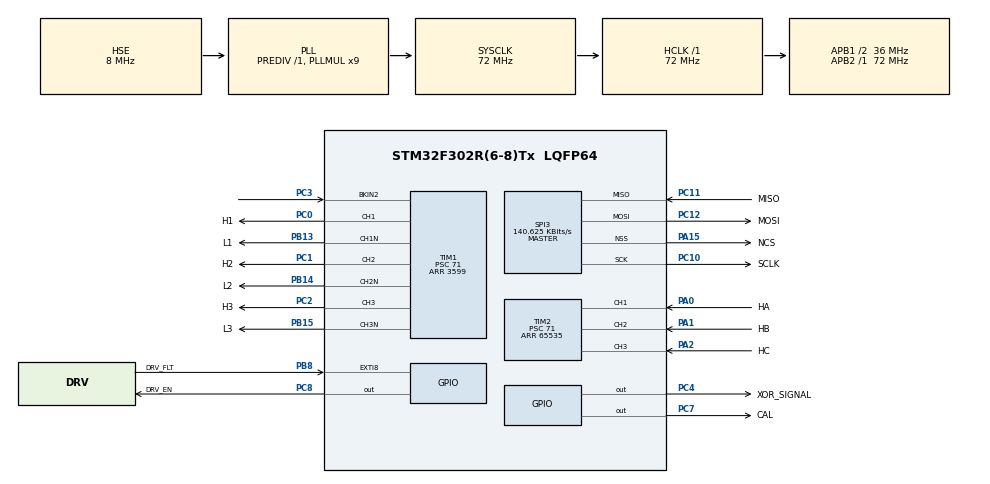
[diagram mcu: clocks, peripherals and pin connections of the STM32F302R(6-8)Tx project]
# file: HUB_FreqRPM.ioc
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Mcu.Family=STM32F3
Mcu.Name=STM32F302R(6-8)Tx
Mcu.Package=LQFP64
NVIC.PriorityGroup=NVIC_PRIORITYGROUP_0
NVIC.TIM1_BRK_TIM15_IRQn=true\:0\:0\:false\:false\:true\:true\:true\:true
NVIC.TIM1_UP_TIM16_IRQn=true\:0\:0\:false\:false\:true\:true\:true\:true
NVIC.TIM2_IRQn=true\:0\:0\:false\:false\:true\:true\:true\:true
PA0.GPIO_Label=HA
PA0.GPIO_Speed=GPIO_SPEED_FREQ_HIGH
PA0.Signal=S_TIM2_CH1_ETR
PA1.GPIO_Label=HB
PA1.GPIO_Speed=GPIO_SPEED_FREQ_HIGH
PA1.Signal=S_TIM2_CH2
PA13.GPIO_Label=TMS
PA13.Mode=Serial_Wire
PA13.Signal=SYS_JTMS-SWDIO
PA14.GPIO_Label=TCK
PA14.Mode=Serial_Wire
PA14.Signal=SYS_JTCK-SWCLK
PA15.GPIO_Label=NCS
PA15.Mode=NSS_Signal_Hard_Output
PA15.Signal=SPI3_NSS
PA2.GPIO_Label=HC
PA2.GPIO_Speed=GPIO_SPEED_FREQ_HIGH
PA2.Signal=S_TIM2_CH3
PB13.GPIO_Label=L1
PB13.GPIO_Speed=GPIO_SPEED_FREQ_HIGH
PB13.Mode=PWM Generation1 CH1 CH1N
PB13.Signal=TIM1_CH1N
PB14.GPIO_Label=L2
PB14.GPIO_Speed=GPIO_SPEED_FREQ_HIGH
PB14.Mode=PWM Generation2 CH2 CH2N
PB14.Signal=TIM1_CH2N
PB15.GPIO_Label=L3
PB15.GPIO_Speed=GPIO_SPEED_FREQ_HIGH
PB15.Mode=PWM Generation3 CH3 CH3N
PB15.Signal=TIM1_CH3N
PB8.GPIO_Label=DRV_FLT
PB8.GPIO_ModeDefaultEXTI=GPIO_MODE_IT_FALLING
PB8.Signal=GPXTI8
PC0.GPIO_Label=H1
PC0.GPIO_Speed=GPIO_SPEED_FREQ_HIGH
PC0.Signal=S_TIM1_CH1
PC1.GPIO_Label=H2
PC1.GPIO_Speed=GPIO_SPEED_FREQ_HIGH
PC1.Signal=S_TIM1_CH2
PC10.GPIO_Label=SCLK
PC10.Mode=Full_Duplex_Master
PC10.Signal=SPI3_SCK
PC11.GPIO_Label=MISO
PC11.Mode=Full_Duplex_Master
PC11.Signal=SPI3_MISO
PC12.GPIO_Label=MOSI
PC12.Mode=Full_Duplex_Master
PC12.Signal=SPI3_MOSI
PC14\ -\ OSC32_IN.Mode=LSE-External-Clock-Source
PC14\ -\ OSC32_IN.Signal=RCC_OSC32_IN
PC2.GPIO_Label=H3
PC2.GPIO_Speed=GPIO_SPEED_FREQ_HIGH
PC2.Signal=S_TIM1_CH3
PC3.Mode=Activate-Break-Input-2
PC3.Signal=TIM1_BKIN2
PC4.GPIO_Label=XOR_SIGNAL
PC4.Signal=GPIO_Output
PC7.GPIO_Label=CAL
PC7.Signal=GPIO_Output
PC8.GPIO_Label=DRV_EN
PC8.Signal=GPIO_Output
PF0-OSC_IN.Mode=HSE-External-Oscillator
PF0-OSC_IN.Signal=RCC_OSC_IN
PF1-OSC_OUT.Mode=HSE-External-Oscillator
PF1-OSC_OUT.Signal=RCC_OSC_OUT
ProjectManager.HeapSize=0x200
ProjectManager.StackSize=0x400
ProjectManager.TargetToolchain=STM32CubeIDE
RCC.AHBFreq_Value=72000000
RCC.APB1CLKDivider=RCC_HCLK_DIV2
RCC.APB1Freq_Value=36000000
RCC.APB1TimFreq_Value=72000000
RCC.APB2Freq_Value=72000000
RCC.APB2TimFreq_Value=72000000
RCC.CortexFreq_Value=72000000
RCC.HCLKFreq_Value=72000000
RCC.HSE_VALUE=8000000
RCC.HSI_VALUE=8000000
RCC.LSE_VALUE=32768
RCC.PLLM=8
RCC.PLLMUL=RCC_PLL_MUL9
RCC.PLLN=336
RCC.PLLP=RCC_PLLP_DIV4
RCC.PLLQ=7
RCC.PLLSourceVirtual=RCC_PLLSOURCE_HSE
RCC.SYSCLKFreq_VALUE=72000000
RCC.SYSCLKSourceVirtual=RCC_SYSCLKSOURCE_PLLCLK
RCC.USBFreq_Value=72000000
SH.S_TIM1_CH1.0=TIM1_CH1,PWM Generation1 CH1 CH1N
SH.S_TIM1_CH2.0=TIM1_CH2,PWM Generation2 CH2 CH2N
SH.S_TIM1_CH3.0=TIM1_CH3,PWM Generation3 CH3 CH3N
SH.S_TIM2_CH1_ETR.0=TIM2_CH1,Xored_Inputs_Hall_Sensor_Interface
SH.S_TIM2_CH2.0=TIM2_CH2,Xored_Inputs_Hall_Sensor_Interface
SH.S_TIM2_CH3.0=TIM2_CH3,Xored_Inputs_Hall_Sensor_Interface
SPI3.BaudRatePrescaler=SPI_BAUDRATEPRESCALER_256
SPI3.CalculateBaudRate=140.625 KBits/s
SPI3.DataSize=SPI_DATASIZE_16BIT
SPI3.Direction=SPI_DIRECTION_2LINES
SPI3.Mode=SPI_MODE_MASTER
SPI3.TIMode=SPI_TIMODE_ENABLE
SPI3.VirtualNSS=VM_NSSHARD
SPI3.VirtualType=VM_MASTER
TIM1.AutoReloadPreload=TIM_AUTORELOAD_PRELOAD_ENABLE
TIM1.Break2Filter=10
TIM1.Break2Polarity=TIM_BREAK2POLARITY_LOW
TIM1.Break2State=TIM_BREAK2_ENABLE
TIM1.BreakFilter=0
TIM1.BreakPolarity=TIM_BREAKPOLARITY_HIGH
TIM1.BreakState=TIM_BREAK_DISABLE
TIM1.Channel-PWM\ Generation1\ CH1\ CH1N=TIM_CHANNEL_1
TIM1.Channel-PWM\ Generation2\ CH2\ CH2N=TIM_CHANNEL_2
TIM1.Channel-PWM\ Generation3\ CH3\ CH3N=TIM_CHANNEL_3
TIM1.CounterMode=TIM_COUNTERMODE_CENTERALIGNED1
TIM1.DeadTime=94
TIM1.OffStateIDLEMode=TIM_OSSI_ENABLE
TIM1.OffStateRunMode=TIM_OSSR_ENABLE
TIM1.Period=3599
TIM1.Prescaler=71
TIM1.RepetitionCounter=1
TIM1.TIM_MasterOutputTrigger=TIM_TRGO_UPDATE
TIM2.IC1Polarity=TIM_ICPOLARITY_RISING
TIM2.Period=65535
TIM2.Prescaler=71
VP_TIM1_VS_ClockSourceINT.Mode=Internal
VP_TIM2_VS_ClockSourceINT.Mode=Internal
board=NUCLEO-F302R8

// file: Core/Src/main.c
/* USER CODE BEGIN Header */
/**
  ******************************************************************************
  * @file           : main.c
  * @brief          : Main program body
  ******************************************************************************
  * @attention
  *
  * Copyright (c) 2026 STMicroelectronics.
  * All rights reserved.
  *
  * This software is licensed under terms that can be found in the LICENSE file
  * in the root directory of this software component.
  * If no LICENSE file comes with this software, it is provided AS-IS.
  *
  ******************************************************************************
  */
/* USER CODE END Header */
#include "main.h"
#include "spi.h"
#include "tim.h"
#include "gpio.h"
#include "DRV8323.h"

/* USER CODE BEGIN PM */
#define POLES 30

#define HALL_A HAL_GPIO_ReadPin(GPIOA, GPIO_PIN_0)
#define HALL_B HAL_GPIO_ReadPin(GPIOA, GPIO_PIN_1)
#define HALL_C HAL_GPIO_ReadPin(GPIOA, GPIO_PIN_2)

/* USER CODE END PM */

/* USER CODE BEGIN PV */
volatile uint32_t count2;
float rpm,freq = 0.0;
uint32_t last_time,motor_status = 0;
volatile int dir = 0;
volatile uint8_t current_State,previous_State = 0;

/* USER CODE END PV */

void SystemClock_Config(void);

/* USER CODE BEGIN 0 */
int Motor_Direction(void)
{
	const int direction_sequence[8][8] =
	{
			{0,0,0,0,0,0,0,0},   //0
			{0,0,0,-1,0,+1,0,0}, //1 previous
			{0,0,0,+1,0,0,-1,0}, //2 previous
			{0,+1,-1,0,0,0,0,0}, //3 previous
			{0,0,0,0,0,-1,+1,0}, //4 previous
			{0,-1,0,0,+1,0,0,0}, //5 previous
			{0,0,+1,0,-1,0,0,0}, //6 previous
			{0,0,0,0,0,0,0,0}    //7 previous
	};
	current_State = (HALL_A<<0)|(HALL_B<<1)|(HALL_C<<2);
	if(current_State == 0 || previous_State == 7)
	{
		dir = 0;
		return 0;
	}
	dir = direction_sequence[previous_State][current_State];
    previous_State = current_State;   // update previous state
    return dir;
}

void All_Disable(void)
{
	TIM1->CCER &= ~(
	        (1<<0)  | (1<<2)  |   // U HS + LS
	        (1<<4)  | (1<<6)  |   // V HS + LS
	        (1<<8)  | (1<<10)     // W HS + LS
	    );
}

void BLDC_Commutate(uint8_t hall)
{
	// U Phase - Channel 1
	// V Phase - Channel 2
    // W Phase - Channel 3

    All_Disable();

	switch(hall)
	{
	  // DIR = 0

	  case 1: // 110    V+ W-  U-floating
          TIM1->CCER |= (1<<4);
          TIM1->CCER |= (1<<10);
		  break;

      case 2: // 100    U+ W-  V-floating
    	  TIM1->CCER |= (1<<0);
          TIM1->CCER |= (1<<10);
    	  break;

      case 3: // 101    U+ V-  W-floating
    	  TIM1->CCER |= (1<<0);
    	  TIM1->CCER |= (1<<6);
    	  break;

      case 4: // 001    W+ V-  U-floating
    	  TIM1->CCER |= (1<<8);
    	  TIM1->CCER |= (1<<6);
    	  break;

      case 5: // 011    W+ U-  V-floating
    	  TIM1->CCER |= (1<<8);
    	  TIM1->CCER |= (1<<2);
    	  break;

      case 6: // 010    V+ U-  W-floating
    	  TIM1->CCER |= (1<<4);
          TIM1->CCER |= (1<<2);
          break;

      default:
    	  break;
	}

}
/* USER CODE END 0 */

int main(void)
{

  /* MCU Configuration--------------------------------------------------------*/

  /* Reset of all peripherals, Initializes the Flash interface and the Systick. */
  HAL_Init();

  /* Configure the system clock */
  SystemClock_Config();

  /* Initialize all configured peripherals */
  MX_GPIO_Init();
  MX_TIM2_Init();
  MX_SPI3_Init();
  MX_TIM1_Init();
  /* USER CODE BEGIN 2 */

  HAL_GPIO_WritePin(GPIOC, GPIO_PIN_8, SET);   // DRV_ENABLE
  HAL_TIMEx_HallSensor_Start_IT(&htim2);
  HAL_TIM_Base_Start_IT(&htim2);
  DRV_INIT();
  //TIM1->BDTR = (1<<15);
  // PWM Generation
  HAL_TIM_PWM_Start(&htim1, TIM_CHANNEL_1);
  HAL_TIMEx_PWMN_Start(&htim1, TIM_CHANNEL_1);
  HAL_TIM_PWM_Start(&htim1, TIM_CHANNEL_2);
  HAL_TIMEx_PWMN_Start(&htim1, TIM_CHANNEL_2);
  HAL_TIM_PWM_Start(&htim1, TIM_CHANNEL_3);
  HAL_TIMEx_PWMN_Start(&htim1, TIM_CHANNEL_3);

  BLDC_Commutate(2);
  TIM1->EGR |= (1<<5);  //COMG
  __HAL_TIM_MOE_ENABLE (&htim1);
  /* USER CODE END 2 */

  /* Infinite loop */
   while (1)
  {

  }
}

void SystemClock_Config(void)
{
  RCC_OscInitTypeDef RCC_OscInitStruct = {0};
  RCC_ClkInitTypeDef RCC_ClkInitStruct = {0};
  RCC_PeriphCLKInitTypeDef PeriphClkInit = {0};

  /** Initializes the RCC Oscillators according to the specified parameters
  * in the RCC_OscInitTypeDef structure.
  */
  RCC_OscInitStruct.OscillatorType = RCC_OSCILLATORTYPE_HSE;
  RCC_OscInitStruct.HSEState = RCC_HSE_ON;
  RCC_OscInitStruct.HSEPredivValue = RCC_HSE_PREDIV_DIV1;
  RCC_OscInitStruct.HSIState = RCC_HSI_ON;
  RCC_OscInitStruct.PLL.PLLState = RCC_PLL_ON;
  RCC_OscInitStruct.PLL.PLLSource = RCC_PLLSOURCE_HSE;
  RCC_OscInitStruct.PLL.PLLMUL = RCC_PLL_MUL9;
  if (HAL_RCC_OscConfig(&RCC_OscInitStruct) != HAL_OK)
  {
    Error_Handler();
  }

  /** Initializes the CPU, AHB and APB buses clocks
  */
  RCC_ClkInitStruct.ClockType = RCC_CLOCKTYPE_HCLK|RCC_CLOCKTYPE_SYSCLK
                              |RCC_CLOCKTYPE_PCLK1|RCC_CLOCKTYPE_PCLK2;
  RCC_ClkInitStruct.SYSCLKSource = RCC_SYSCLKSOURCE_PLLCLK;
  RCC_ClkInitStruct.AHBCLKDivider = RCC_SYSCLK_DIV1;
  RCC_ClkInitStruct.APB1CLKDivider = RCC_HCLK_DIV2;
  RCC_ClkInitStruct.APB2CLKDivider = RCC_HCLK_DIV1;

  if (HAL_RCC_ClockConfig(&RCC_ClkInitStruct, FLASH_LATENCY_2) != HAL_OK)
  {
    Error_Handler();
  }
  PeriphClkInit.PeriphClockSelection = RCC_PERIPHCLK_TIM1;
  PeriphClkInit.Tim1ClockSelection = RCC_TIM1CLK_HCLK;
  if (HAL_RCCEx_PeriphCLKConfig(&PeriphClkInit) != HAL_OK)
  {
    Error_Handler();
  }
}

/* USER CODE BEGIN 4 */
// Calculate RPM of the Hub motor
// Counter resets to 0 after detecting edge
void HAL_TIM_IC_CaptureCallback(TIM_HandleTypeDef *htim)
{
	if(htim->Instance == TIM2 && htim->Channel == HAL_TIM_ACTIVE_CHANNEL_1)
	{
		HAL_GPIO_TogglePin(GPIOC, GPIO_PIN_4);      //TP1
		count2 = HAL_TIM_ReadCapturedValue(htim, TIM_CHANNEL_1);
		if(count2>0)
	    {
		    freq = (1000000/count2);
		    Motor_Direction();   // Read the direction of motor
			rpm=(dir*(120*freq)/(6*POLES)); // 6 Hall Transitions
			motor_status = 1;
		}
		else
		{
			freq = 0.0;
			rpm = 0.0;
		}
		//BLDC_Commutate(current_State);
	}

}
void HAL_TIM_PeriodElapsedCallback(TIM_HandleTypeDef *htim)
{
	if(htim->Instance == TIM2)
	{
		//motor_status = 0;
		if(motor_status == 0)
		{
			rpm = 0.0;
			dir = 0;
		}
		motor_status = 0;
	}
}
/* USER CODE END 4 */

void Error_Handler(void)
{
  __disable_irq();
  while (1)
  {
  }
}
